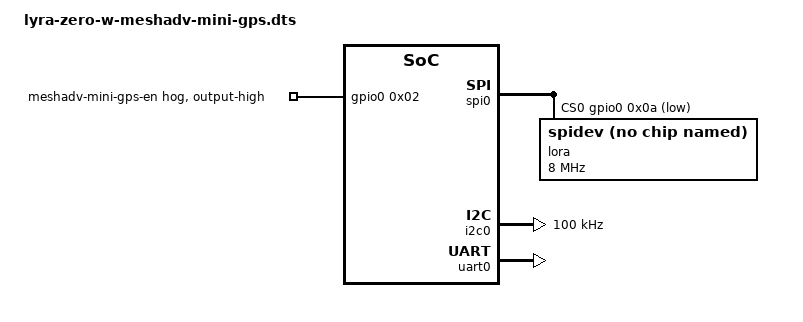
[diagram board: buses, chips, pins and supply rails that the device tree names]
/dts-v1/;
/plugin/;

/*
 * MeshAdv Mini + onboard GPS (ATGM336H) for Luckfox Lyra Zero W.
 *
 * Same LoRa pinmux as lyra-zero-w-meshadv-mini.dts, plus:
 *   - GPS EN pin7 hogged HIGH (active high per MeshAdv Mini README)
 *   - &uart0 (serial@ff0a0000) enabled on pins 8/10 for NMEA @ 9600
 *   - /fiq-debugger DISABLED (it owns UART0 via rockchip,serial-id=<0>;
 *     enabling &uart0 without this dual-claims the port and brick-hangs
 *     boot even hatless — 2026-09-05 lyra2)
 *
 * Tradeoff: no /dev/ttyFIQ0 serial console while this overlay is active
 * (SSH still works). U-Boot still uses UART0 pre-kernel — requires
 * AUTOBOOT_KEYED U-Boot when the Mini HAT is seated (GPS TX on pin10).
 *
 * STATUS (2026-09-05): DO NOT USE on vendor 6.1.115. fiq-off alone, uart0
 * alone, and fiq-off+uart0 all brick-hang boot (solid red). Kept as reference
 * only. Onboard GPS deferred until mainline RK3506 (no FIQ on UART0).
 *
 * MUTUALLY EXCLUSIVE with pi-header, station-g3, and the LoRa-only Mini
 * overlay. EXPERIMENTAL: lyra-hat-pinmux profile meshadv-mini-gps only
 * (NOT wizard default — fiq-off+uart0 still hung lyra2 2026-09-05).
 * Wizard Mini path uses LoRa-only (gps=off). Opt-in: gps=on or apply
 * meshadv-mini-gps after bring-up is fixed.
 *
 * NEVER claim pin12 as RESET (Mini Fan PWM).
 */

/ {
	fragment@0 {
		target = <&pinctrl>;
		__overlay__ {
			lora_mini {
				lora_mini_spi0_mosi: lora-mini-spi0-mosi {
					rockchip,pins = <0x00 0x06 0x53 &pcfg_pull_none_drv_level_3>; /* pin19 MOSI */
				};
				lora_mini_spi0_miso: lora-mini-spi0-miso {
					rockchip,pins = <0x00 0x07 0x54 &pcfg_pull_none_drv_level_3>; /* pin21 MISO */
				};
				lora_mini_spi0_clk: lora-mini-spi0-clk {
					rockchip,pins = <0x00 0x08 0x52 &pcfg_pull_none_drv_level_3>; /* pin23 SCLK */
				};
				lora_mini_spi0_cs0: lora-mini-spi0-cs0 {
					/* pin24 CSN0 (RM_IO10 / GPIO0_B2) */
					rockchip,pins = <0x00 0x0a 0x55 &pcfg_pull_none_drv_level_3>;
				};

				lora_mini_irq: lora-mini-irq {
					rockchip,pins = <0x01 0x19 0x00 &pcfg_pull_down>; /* pin36 */
				};

				lora_mini_busy: lora-mini-busy {
					rockchip,pins = <0x00 0x11 0x00 &pcfg_pull_none>; /* pin38 */
				};

				lora_mini_reset: lora-mini-reset {
					/* pin18 RESET — NEVER pin12 (fan) */
					rockchip,pins = <0x00 0x0c 0x00 &pcfg_output_high>;
				};

				lora_mini_rxen: lora-mini-rxen {
					rockchip,pins = <0x01 0x1a 0x00 &pcfg_output_low>; /* pin32 */
				};

				lora_mini_pps: lora-mini-pps {
					rockchip,pins = <0x00 0x03 0x00 &pcfg_pull_none>; /* pin11 PPS */
				};

				lora_mini_gps_en: lora-mini-gps-en {
					/* pin7 GPS EN active HIGH — powered on with this overlay */
					rockchip,pins = <0x00 0x02 0x00 &pcfg_output_high>;
				};

				lora_mini_i2c0_sda: lora-mini-i2c0-sda {
					rockchip,pins = <0x00 0x00 0x1f &pcfg_pull_none>;
				};
				lora_mini_i2c0_scl: lora-mini-i2c0-scl {
					rockchip,pins = <0x00 0x01 0x1e &pcfg_pull_none>;
				};
			};
		};
	};

	fragment@1 {
		target = <&spi0>;
		__overlay__ {
			status = "okay";
			pinctrl-names = "default";
			pinctrl-0 = <
				&lora_mini_spi0_mosi &lora_mini_spi0_miso
				&lora_mini_spi0_clk &lora_mini_spi0_cs0
				&lora_mini_irq &lora_mini_busy
				&lora_mini_reset &lora_mini_rxen &lora_mini_pps
			>;
			#address-cells = <0x01>;
			#size-cells = <0x00>;
			cs-gpios = <&gpio0 0x0a 0x01>;

			lora@0 {
				compatible = "rockchip,spidev";
				reg = <0x00>;
				spi-max-frequency = <8000000>;
				status = "okay";
			};
		};
	};

	/* GPS EN hog HIGH — ATGM336H powered for NMEA on UART0. */
	fragment@2 {
		target = <&gpio0>;
		__overlay__ {
			meshadv_mini_gps_en_hog {
				gpio-hog;
				gpios = <0x02 0x00>; /* GPIO0_A2 / RM_IO2 / phys pin7 */
				output-high;
				line-name = "meshadv-mini-gps-en";
			};
		};
	};

	fragment@3 {
		target-path = "/";
		__overlay__ {
			lora-mini-gpio-lines {
				compatible = "gpio-consumer-placeholder";
				status = "okay";
			};
		};
	};

	fragment@4 {
		target = <&i2c0>;
		__overlay__ {
			status = "okay";
			pinctrl-names = "default";
			pinctrl-0 = <&lora_mini_i2c0_sda &lora_mini_i2c0_scl>;
			#address-cells = <0x01>;
			#size-cells = <0x00>;
			clock-frequency = <100000>;
		};
	};

	/*
	 * Free UART0 from Rockchip FIQ debugger BEFORE enabling the 8250 port.
	 * Base DT: fiq-debugger rockchip,serial-id = <0> (= UART0 @ 1.5M).
	 * Without this, &uart0 status=okay dual-claims HW and hangs boot.
	 */
	fragment@5 {
		target = <&fiq_debugger>;
		__overlay__ {
			status = "disabled";
		};
	};

	/*
	 * GPS NMEA: host RX = pin10 (GPS TX), host TX = pin8 (GPS RX).
	 * Base node already has pinctrl-0 → uart0_xfer_pins (RM_IO22/23).
	 * Baud is userspace (stty 9600 / gpsd); keep kernel console OFF uart0.
	 */
	fragment@6 {
		target = <&uart0>;
		__overlay__ {
			status = "okay";
			pinctrl-names = "default";
			pinctrl-0 = <&uart0_xfer_pins>;
		};
	};
};
